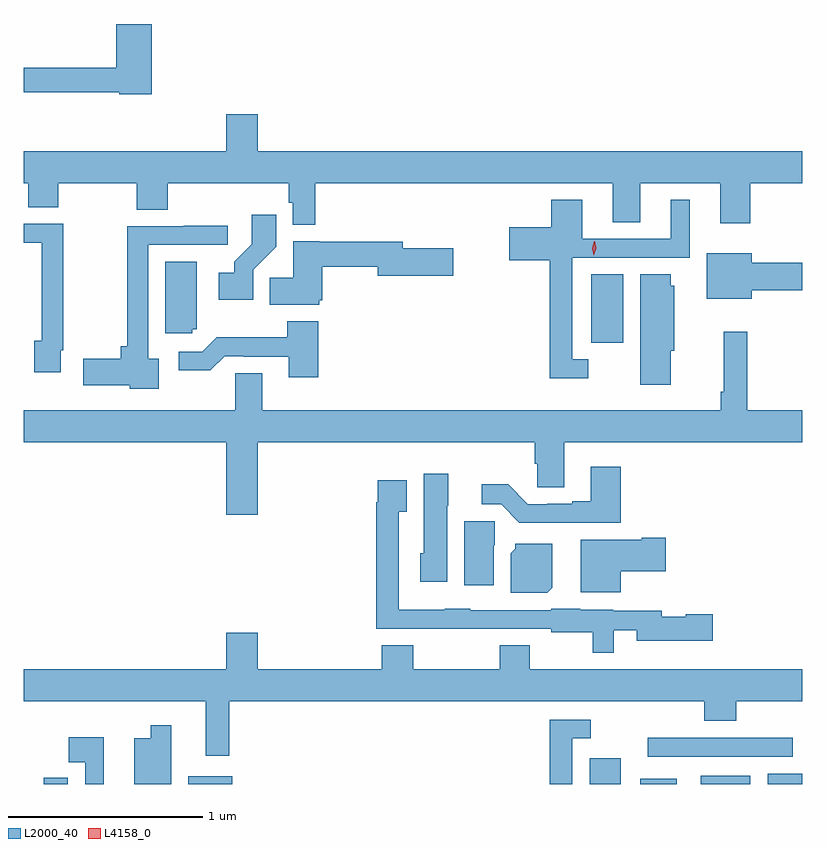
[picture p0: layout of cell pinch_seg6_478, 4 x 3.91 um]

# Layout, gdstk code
import gdstk
lib = gdstk.Library(unit=1e-6, precision=1e-09)
def R(c, l, rs):  # rectangles x0, y0, x1, y1
    for r in rs: c.add(gdstk.rectangle(r[:2], r[2:], *l))
def P(c, l, *ps):  # polygons
    for p in ps: c.add(gdstk.Polygon(p, *l))
L2000_40 = (2000, 40)
L4158_0 = (4158, 0)

pinch_seg6_478 = lib.new_cell('pinch_seg6_478')
R(pinch_seg6_478, L2000_40, [(823.412,938.919,823.534,938.951), (824.153,938.919,824.38,938.959), (826.217,938.919,826.378,939.052), (826.478,938.919,826.666,938.947), (826.787,938.919,827.044,938.962), (827.132,938.919,827.309,938.971), (826.515,939.06,827.26,939.156), (826.226,941.187,826.39,941.54)])
P(pinch_seg6_478, L2000_40, [(823.967,942.826),(823.784,942.826),(823.784,942.602),(823.309,942.602),(823.309,942.474),(823.8,942.474),(823.8,942.466),(823.967,942.466)],
  [(824.807,942.008),(826.337,942.008),(826.337,941.806),(826.477,941.806),(826.477,942.008),(826.889,942.008),(826.889,941.802),(827.042,941.802),(827.042,942.008),(827.309,942.008),(827.309,942.172),(824.512,942.172),(824.512,942.361),(824.348,942.361),(824.348,942.172),(823.309,942.172),(823.309,942.008),(823.33,942.008),(823.33,941.884),(823.485,941.884),(823.485,942.008),(823.888,942.008),(823.888,941.872),(824.048,941.872),(824.048,942.008),(824.671,942.008),(824.671,941.907),(824.691,941.907),(824.691,941.795),(824.807,941.795)],
  [(826.21,941.103),(826.128,941.103),(826.128,941.625),(826.732,941.625),(826.732,941.923),(826.634,941.923),(826.634,941.721),(826.18,941.721),(826.18,941.923),(826.019,941.923),(826.019,941.782),(825.804,941.782),(825.804,941.612),(826.012,941.612),(826.012,941.006),(826.21,941.006)],
  [(824.487,941.563),(824.606,941.682),(824.606,941.845),(824.481,941.845),(824.481,941.693),(824.39,941.603),(824.39,941.548),(824.31,941.548),(824.31,941.408),(824.487,941.408)],
  [(823.497,941.149),(823.51,941.149),(823.51,941.799),(823.309,941.799),(823.309,941.702),(823.401,941.702),(823.401,941.198),(823.361,941.198),(823.361,941.037),(823.497,941.037)],
  [(824.002,941.105),(823.947,941.105),(823.947,941.691),(824.356,941.691),(824.356,941.79),(824.131,941.79),(824.131,941.787),(823.839,941.787),(823.839,941.17),(823.807,941.17),(823.807,941.105),(823.614,941.105),(823.614,940.97),(823.854,940.97),(823.854,940.952),(824.002,940.952)],
  [(824.826,941.406),(824.842,941.406),(824.842,941.578),(825.128,941.578),(825.128,941.531),(825.517,941.531),(825.517,941.673),(825.256,941.673),(825.256,941.707),(824.826,941.707),(824.826,941.71),(824.693,941.71),(824.693,941.522),(824.572,941.522),(824.572,941.384),(824.826,941.384)],
  [(827.05,941.456),(827.309,941.456),(827.309,941.598),(827.05,941.598),(827.05,941.647),(826.82,941.647),(826.82,941.414),(827.05,941.414)],
  [(824.175,941.256),(824.197,941.256),(824.197,941.605),(824.036,941.605),(824.036,941.235),(824.175,941.235)],
  [(826.633,941.145),(826.651,941.145),(826.651,941.481),(826.633,941.481),(826.633,941.54),(826.478,941.54),(826.478,940.971),(826.633,940.971)],
  [(824.822,941.299),(824.662,941.299),(824.662,941.215),(824.299,941.215),(824.226,941.142),(824.106,941.142),(824.106,941.045),(824.267,941.045),(824.34,941.118),(824.44,941.118),(824.44,941.115),(824.669,941.115),(824.669,941.01),(824.822,941.01)],
  [(824.512,940.676),(825.935,940.676),(825.935,940.566),(825.948,940.566),(825.948,940.444),(826.087,940.444),(826.087,940.676),(827.309,940.676),(827.309,940.84),(827.027,940.84),(827.027,941.245),(826.906,941.245),(826.906,940.936),(826.891,940.936),(826.891,940.84),(824.533,940.84),(824.533,941.03),(824.394,941.03),(824.394,940.84),(823.309,940.84),(823.309,940.676),(824.348,940.676),(824.348,940.302),(824.512,940.302)],
  [(826.376,940.549),(826.223,940.549),(826.223,940.372),(826.127,940.372),(826.127,940.359),(826,940.359),(826,940.356),(825.9,940.356),(825.798,940.459),(825.663,940.459),(825.663,940.356),(825.762,940.356),(825.856,940.262),(826.376,940.262)],
  [(825.484,940.35),(825.49,940.35),(825.49,940.513),(825.365,940.513),(825.365,940.104),(825.347,940.104),(825.347,939.96),(825.484,939.96)],
  [(826.341,939.71),(826.46,939.71),(826.46,939.656),(826.849,939.656),(826.849,939.791),(826.71,939.791),(826.71,939.778),(826.588,939.778),(826.588,939.809),(826.338,939.809),(826.338,939.814),(826.17,939.814),(826.17,939.82),(826.02,939.82),(826.02,939.813),(825.603,939.813),(825.603,939.82),(825.471,939.82),(825.471,939.814),(825.237,939.814),(825.237,940.319),(825.277,940.319),(825.277,940.48),(825.129,940.48),(825.129,940.367),(825.121,940.367),(825.121,939.717),(825.371,939.717),(825.371,939.716),(825.603,939.716),(825.603,939.717),(826.02,939.717),(826.02,939.698),(826.233,939.698),(826.233,939.593),(826.341,939.593)],
  [(825.724,940.146),(825.728,940.146),(825.728,940.269),(825.572,940.269),(825.572,939.942),(825.724,939.942)],
  [(826.378,940.013),(826.609,940.013),(826.609,940.184),(826.485,940.184),(826.485,940.174),(826.172,940.174),(826.172,939.905),(826.378,939.905)],
  [(826.024,939.928),(826.024,940.153),(825.834,940.153),(825.834,940.128),(825.812,940.106),(825.812,939.902),(825.998,939.902)],
  [(824.365,939.344),(826.805,939.344),(826.805,939.245),(826.97,939.245),(826.97,939.344),(827.309,939.344),(827.309,939.508),(825.909,939.508),(825.909,939.632),(825.754,939.632),(825.754,939.508),(825.309,939.508),(825.309,939.632),(825.149,939.632),(825.149,939.508),(824.512,939.508),(824.512,939.697),(824.348,939.697),(824.348,939.508),(823.309,939.508),(823.309,939.344),(824.243,939.344),(824.243,939.063),(824.365,939.063)],
  [(826.128,939.153),(826.222,939.153),(826.222,939.249),(826.012,939.249),(826.012,938.919),(826.128,938.919)],
  [(824.065,939.22),(823.961,939.22),(823.961,939.154),(823.877,939.154),(823.877,938.919),(824.065,938.919)],
  [(823.72,939.16),(823.54,939.16),(823.54,939.032),(823.623,939.032),(823.623,938.919),(823.72,938.919)])
P(pinch_seg6_478, L4158_0, [(826.239,941.638),(826.239,941.638),(826.231,941.674),(826.242,941.709),(826.242,941.709),(826.243,941.709),(826.251,941.673),(826.239,941.638)])

lib.write_gds('pinch_seg6_478.gds')
